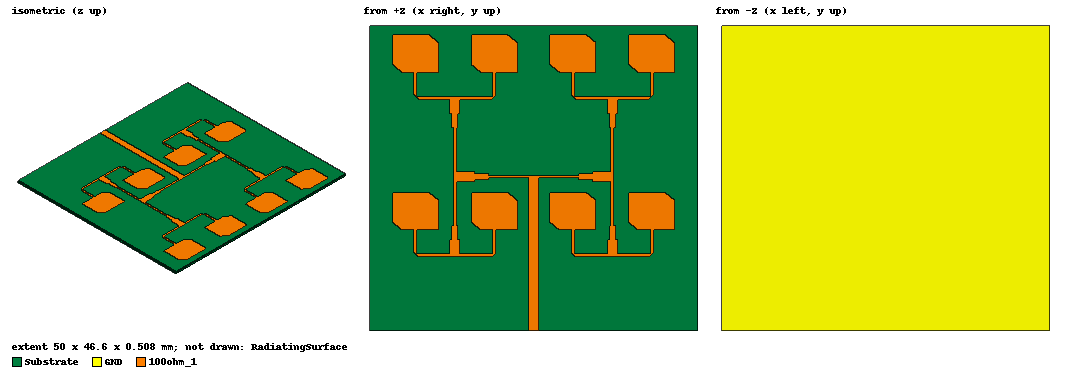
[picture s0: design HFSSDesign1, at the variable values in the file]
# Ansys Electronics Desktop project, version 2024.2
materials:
  vacuum: permittivity=1
  Rogers RT/duroid 5880 (tm): permittivity=2.2 dielectric_loss_tangent=0.0009

design HFSSDesign1 (HFSS, HFSS Terminal Network, model units mm)
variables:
  Lg = 11.67mm
  Wg = 24.61mm
  Hs = 0.508mm
  Ls = 11.67mm
  Ws = 24.61mm
  Wf = 1.565mm
  Lf = 2.2mm
  Lp = 3.51mm
  Wp = 4.591mm
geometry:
  50ohm = rectangle(corner=(11.67mm/2 - 2.2mm, -1.565mm/2, 0.508mm), x_size=2.2mm, y_size=1.565mm)
  100ohm_1 = rectangle(corner=(11.67mm/2 - Lf - 0.455mm, -11.545mm/2, 0.508mm), x_size=0.455mm, y_size=11.545mm)
  Feedline_1 = rectangle(corner=(3.635mm, -0.455mm-11.545mm/2, 0.508mm), x_size=-4.135mm, y_size=0.455mm)
  Feedline_2 = rectangle(corner=(3.635mm, 11.545mm/2, 0.508mm), x_size=-4.135mm, y_size=0.455mm)
  [50ohm, 100ohm_1, Feedline_1, Feedline_2].rotate(axis=Z, angle=270deg)
  70ohm = rectangle(corner=((0-0.9/2) mm, -5.835mm, 0.508mm), x_size=0.9mm, y_size=-2.14mm)
  100ohm_3 = rectangle(corner=((0-0.455/2) mm, -7.975mm, 0.508mm), x_size=0.455mm, y_size=-14.9mm)
  70ohm1 = rectangle(corner=((0-0.9/2) mm, (-5.835-10.9-2.14) mm, 0.508mm), x_size=0.9mm, y_size=-2.14mm)
  50ohm_2 = rectangle(corner=(11.67mm/2 + 2.2mm + 2.14mm + 10.9mm, -1.565mm/2, 0.508mm), x_size=2.2mm, y_size=1.565mm)
  50ohm_2.rotate(axis=Z, angle=270deg)
  50ohm_2.move(0mm, 0.06mm, 0mm)
  100ohm_2 = rectangle(corner=(11.67mm/2 - Lf - 0.455mm, -11.545mm/2, 0.508mm), x_size=0.455mm, y_size=11.545mm)
  100ohm_2.rotate(axis=Z, angle=270deg)
  100ohm_2.move(0mm, -20.065mm, -0.008mm)
  100ohm_2.move(0mm, 0.03mm, 0.008mm)
  Feedline_3 = rectangle(corner=(3.635mm, -0.455mm-11.545mm/2, 0.508mm), x_size=-4.135mm, y_size=0.455mm)
  Feedline_3.rotate(axis=Z, angle=270deg)
  Feedline_4 = rectangle(corner=(3.635mm, 11.545mm/2, 0.508mm), x_size=-4.135mm, y_size=0.455mm)
  Feedline_4.rotate(axis=Z, angle=270deg)
  [Feedline_3, Feedline_4].move(-0.1725mm, -19.965mm, 0.092mm)
  [Feedline_3, Feedline_4].move(0.1725mm, -0.07mm, -0.092mm)
  [50ohm, 100ohm_1, Feedline_1, Feedline_2, 70ohm, 100ohm_3, 70ohm1, 50ohm_2, 100ohm_2, Feedline_3, Feedline_4].move(-0.2275mm, 13.425mm, -0.508mm)
  50ohm_H1 = rectangle(corner=(0mm, (0+1.565/2) mm, 0mm), x_size=2.8mm, y_size=-1.565mm)
  70ohm_H1 = rectangle(corner=((0+2.8) mm, (0+0.9/2) mm, 0mm), x_size=2.14mm, y_size=-0.9mm)
  100ohm_H = rectangle(corner=(4.94mm, (0+0.455/2) mm, 0mm), x_size=13.65mm, y_size=-0.455mm)
  70ohm_H2 = rectangle(corner=((0+2.8) mm, (0+0.9/2) mm, 0mm), x_size=2.14mm, y_size=-0.9mm)
  70ohm_H2.move(15.86mm, 0.0275mm, 0mm)
  70ohm_H2.move(-0.07mm, -0.0275mm, 0mm)
  50ohm_H2 = rectangle(corner=(0mm, (0+1.565/2) mm, 0mm), x_size=2.8mm, y_size=-1.565mm)
  50ohm_H2.move(20.8mm, -0.05mm, 0mm)
  50ohm_H2.move(-0.07mm, 0.05mm, 0mm)
  [50ohm, 100ohm_1, Feedline_1, Feedline_2, 70ohm, 100ohm_3, 70ohm1, 50ohm_2, 100ohm_2, Feedline_3, Feedline_4, 50ohm_H1, 70ohm_H1, 100ohm_H, 70ohm_H2, 50ohm_H2].move(-11.765mm, 0.2275mm, 0mm)
  50ohm_Main = rectangle(corner=((0-1.565/2) mm, 0mm, 0mm), x_size=1.565mm, y_size=-23.3mm)
  Substrate [Rogers RT/duroid 5880 (tm)] = box(corner=(-25mm, -23.3mm, 0mm), size=(50mm, (23.3*2) mm, -0.508mm))
  P1 = rectangle(corner=(-0.7825mm, -23.3mm, 0mm), z_size=-0.508mm, x_size=1.565mm)
  RadiatingSurface [vacuum] = region(absolute_offset=3.8461538mm on all sides)
  Patch_1 = rectangle(corner=(-4mm, 10mm, 0mm), x_size=6.97mm, y_size=5.647mm)
  Patch_1.move(0mm, 0mm, 0mm)
  Patch_1.move(-17.4775mm, 4.1525mm, 0mm)
  [100ohm_2, 50ohm_2, 70ohm1, Feedline_3, Feedline_4].move(0mm, -4mm, 0mm)
  50ohm_3 = 50ohm.duplicate_along_line(step=(24mm, 0mm, 0mm), total=2)
  50ohm.delete()
  100ohm_1_1 = 100ohm_1.duplicate_along_line(step=(24mm, 0mm, 0mm), total=2)
  100ohm_2_1 = 100ohm_2.duplicate_along_line(step=(24mm, 0mm, 0mm), total=2)
  100ohm_3_1 = 100ohm_3.duplicate_along_line(step=(24mm, 0mm, 0mm), total=2)
  70ohm_1 = 70ohm.duplicate_along_line(step=(24mm, 0mm, 0mm), total=2)
  70ohm1_1 = 70ohm1.duplicate_along_line(step=(24mm, 0mm, 0mm), total=2)
  50ohm_4 = 50ohm_2.duplicate_along_line(step=(24mm, 0mm, 0mm), total=2)
  Feedline_1_1 = Feedline_1.duplicate_along_line(step=(24mm, 0mm, 0mm), total=2)
  Feedline_2_1 = Feedline_2.duplicate_along_line(step=(24mm, 0mm, 0mm), total=2)
  Feedline_3_1 = Feedline_3.duplicate_along_line(step=(24mm, 0mm, 0mm), total=2)
  Feedline_4_1 = Feedline_4.duplicate_along_line(step=(24mm, 0mm, 0mm), total=2)
  50ohm_1 = rectangle(corner=(-11.9925mm, 10.0175mm, 0mm), x_size=1.565mm, y_size=2.2mm)
  50ohm_1.move(-0.7825mm, -2.2mm, 0mm)
  GND = rectangle(corner=(-25mm, -23.3mm, -0.508mm), x_size=50mm, y_size=46.6mm)
  Polyline1 = polyline(z=0mm, xy in mm: (-21.4775, 15.2815) (-20.0835, 14.1525) (-21.4775, 14.1525) (-21.4775, 15.2815), closed, covered)
  Polyline2 = polyline(z=0mm, xy in mm: (-15.9015, 19.7995) (-14.5075, 18.6705) (-14.5075, 19.7995) (-15.9015, 19.7995), closed, covered)
  Patch_1.subtract(Polyline1, Polyline2)
  Patch_1_2 = Patch_1.duplicate_along_line(step=(12mm, -3.5527137e-15mm, 0mm), total=2)
  Patch_1_2_1 = Patch_1_2.duplicate_along_line(step=(12mm, 3.5527137e-15mm, 0mm), total=2)
  Patch_1_2_1_1 = Patch_1_2_1.duplicate_along_line(step=(12mm, -3.5527137e-15mm, 0mm), total=2)
  Patch_1_2_1_2 = Patch_1_2_1.duplicate_along_line(step=(-24mm, -24.035mm, 0mm), total=2)
  Patch_1_2_1_3 = Patch_1_2_1.duplicate_along_line(step=(-12mm, -24.035mm, 0mm), total=2)
  Patch_1_2_1_3_1 = Patch_1_2_1_3.duplicate_along_line(step=(12mm, 3.5527137e-15mm, 0mm), total=2)
  Patch_1_2_1_3_2 = Patch_1_2_1_3.duplicate_along_line(step=(24mm, 0mm, 0mm), total=2)
  [Patch_1_2_1_1, 100ohm_1_1, 100ohm_2_1, 100ohm_3_1, 50ohm_3, 50ohm_4, 70ohm_1, 70ohm1_1, Feedline_1_1, Feedline_2_1, Feedline_3_1, Feedline_4_1, Patch_1_2_1, Patch_1_2_1_3_1, Patch_1_2_1_3_2].move(-0.015mm, 2mm, 0mm)
  [100ohm_3, 100ohm_1, 100ohm_2, 50ohm_1, 50ohm_2, 70ohm, 70ohm1, Feedline_1..Feedline_4, Patch_1, Patch_1_2, Patch_1_2_1_2, Patch_1_2_1_3].move(0mm, 2mm, 0mm)
  Polyline3 = polyline(z=0mm, xy in mm: (-17.565, 12.0175) (-18.22, 12.6725) (-18.22, 12.0175) (-17.565, 12.0175), closed, covered)
  Polyline3_1 = Polyline3.copy()
  100ohm_1.subtract(Polyline3_1)
  Polyline3_2 = Polyline3.copy()
  Polyline3.delete()
  Feedline_1.subtract(Polyline3_2)
  Polyline4 = polyline(z=0mm, xy in mm: (-5.765, 12.6725) (-6.42, 12.0175) (-5.765, 12.0175) (-5.765, 12.6725), closed, covered)
  Polyline4_1 = Polyline4.copy()
  100ohm_1.subtract(Polyline4_1)
  Polyline4_2 = Polyline4.copy()
  Polyline4.delete()
  Feedline_2.subtract(Polyline4_2)
  Polyline11 = polyline(z=0mm, xy in mm: (5.765, 12.6725) (6.42, 12.0175) (5.765, 12.0175) (5.765, 12.6725), closed, covered)
  Polyline12 = polyline(z=0mm, xy in mm: (18.22, 12.6725) (17.565, 12.0175) (18.22, 12.0175) (18.22, 12.6725), closed, covered)
  Polyline11_1 = Polyline11.copy()
  Polyline12_1 = Polyline12.copy()
  100ohm_1_1.subtract(Polyline11_1, Polyline12_1)
  Polyline11_2 = Polyline11.copy()
  Polyline12_2 = Polyline12.copy()
  Feedline_1_1.subtract(Polyline11_2, Polyline12_2)
  Polyline11_3 = Polyline11.copy()
  Polyline11.delete()
  Polyline12_3 = Polyline12.copy()
  Polyline12.delete()
  Feedline_2_1.subtract(Polyline11_3, Polyline12_3)
  Polyline13 = polyline(z=0mm, xy in mm: (-18.22, -11.3625) (-17.565, -12.0175) (-18.22, -12.0175) (-18.22, -11.3625), closed, covered)
  Polyline14 = polyline(z=0mm, xy in mm: (-5.765, -11.3625) (-6.42, -12.0175) (-5.765, -12.0175) (-5.765, -11.3625), closed, covered)
  Polyline13_1 = Polyline13.copy()
  Polyline14_1 = Polyline14.copy()
  100ohm_2.subtract(Polyline13_1, Polyline14_1)
  Polyline13_2 = Polyline13.copy()
  Polyline14_2 = Polyline14.copy()
  Feedline_3.subtract(Polyline13_2, Polyline14_2)
  Feedline_4.subtract(Polyline13, Polyline14)
  Polyline15 = polyline(z=0mm, xy in mm: (5.765, -11.3625) (6.42, -12.0175) (5.765, -12.0175) (5.765, -11.3625), closed, covered)
  Polyline16 = polyline(z=0mm, xy in mm: (18.22, -11.3625) (17.565, -12.0175) (18.22, -12.0175) (18.22, -11.3625), closed, covered)
  Polyline15_1 = Polyline15.copy()
  Polyline16_1 = Polyline16.copy()
  100ohm_2_1.subtract(Polyline15_1, Polyline16_1)
  Polyline15_2 = Polyline15.copy()
  Polyline16_2 = Polyline16.copy()
  Feedline_3_1.subtract(Polyline15_2, Polyline16_2)
  Feedline_4_1.subtract(Polyline15, Polyline16)
  100ohm_1.unite(100ohm_1_1, 100ohm_2, 100ohm_2_1, 100ohm_3, 100ohm_3_1, 100ohm_H, 50ohm_1, 50ohm_2, 50ohm_4, 50ohm_3, 50ohm_H1, 50ohm_H2, 50ohm_Main, 70ohm, 70ohm_1, 70ohm_H1, 70ohm_H2, 70ohm1, 70ohm1_1, Feedline_1, Feedline_1_1, Feedline_2, Feedline_2_1, Feedline_3, Feedline_3_1, Feedline_4, Feedline_4_1, Patch_1, Patch_1_2, Patch_1_2_1, Patch_1_2_1_1, Patch_1_2_1_2, Patch_1_2_1_3, Patch_1_2_1_3_1, Patch_1_2_1_3_2)
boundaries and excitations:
  Open1: Radiation Objects=RadiatingSurface
  PerfE1: Perfect E Objects=[GND, 100ohm_1]
  1: Lumped Port Objects=P1 LumpedPortType=Modal Modes{Mode1{IntLine{(0, -23.3, -0.508) -> (0, -23.3, 0)} CharImp=Zpi RenormImp=50ohm}} Impedance=50ohm
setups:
  Setup1: HfssDriven Frequency=17GHz MaxDeltaS=0.02 MaximumPasses=12 MinimumPasses=1 MinimumConvergedPasses=1 PercentRefinement=30 BasisOrder=1 PortAccuracy=2 DrivenSolverType="Direct Solver"
    sweep Sweep: 10GHz to 25GHz, 201 points; Type=Fast SaveFields
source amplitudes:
  1:1: 1V 0deg
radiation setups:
  3D: Infinite Sphere Theta=0deg..180deg step 2deg Phi=-180deg..180deg step 2deg
  Elevation: Infinite Sphere Theta=-180deg..180deg step 1deg Phi=0deg..90deg step 90deg
  Azimuth: Infinite Sphere Theta=90deg..90deg step 0deg Phi=-180deg..180deg step 1deg
  Infinite Sphere1: Infinite Sphere Theta=-180deg..180deg step 5deg Phi=0deg..360deg step 5deg
